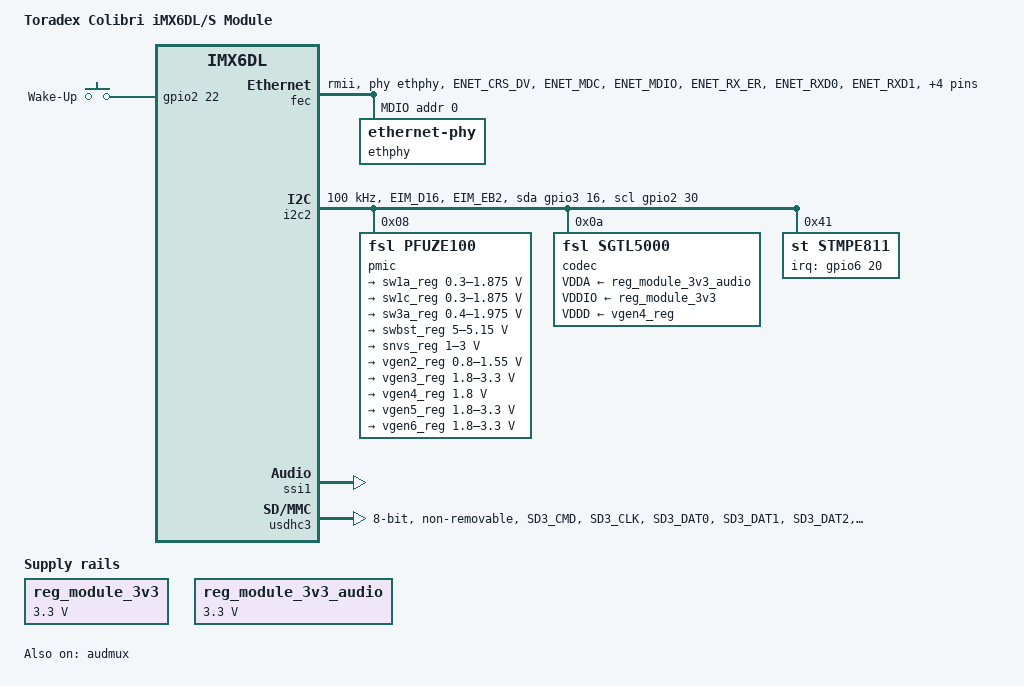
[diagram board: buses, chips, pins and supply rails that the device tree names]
// SPDX-License-Identifier: GPL-2.0+ OR MIT
/*
 * Copyright 2014-2022 Toradex
 * Copyright 2012 Freescale Semiconductor, Inc.
 * Copyright 2011 Linaro Ltd.
 */

#include <dt-bindings/gpio/gpio.h>

/ {
	model = "Toradex Colibri iMX6DL/S Module";
	compatible = "toradex,colibri_imx6dl", "fsl,imx6dl";

	backlight: backlight {
		compatible = "pwm-backlight";
		brightness-levels = <0 127 191 223 239 247 251 255>;
		default-brightness-level = <1>;
		enable-gpios = <&gpio3 26 GPIO_ACTIVE_HIGH>; /* Colibri BL_ON */
		pinctrl-names = "default";
		pinctrl-0 = <&pinctrl_gpio_bl_on>;
		power-supply = <&reg_module_3v3>;
		pwms = <&pwm3 0 5000000>;
		status = "disabled";
	};

	gpio-keys {
		compatible = "gpio-keys";
		pinctrl-names = "default";
		pinctrl-0 = <&pinctrl_gpio_keys>;

		wakeup {
			debounce-interval = <10>;
			gpios = <&gpio2 22 GPIO_ACTIVE_HIGH>; /* SODIMM 45 */
			label = "Wake-Up";
			linux,code = <KEY_WAKEUP>;
			wakeup-source;
		};
	};

	lcd_display: disp0 {
		compatible = "fsl,imx-parallel-display";
		interface-pix-fmt = "bgr666";
		pinctrl-names = "default";
		pinctrl-0 = <&pinctrl_ipu1_lcdif>;
		status = "disabled";

		#address-cells = <1>;
		#size-cells = <0>;

		port@0 {
			reg = <0>;

			lcd_display_in: endpoint {
				remote-endpoint = <&ipu1_di0_disp0>;
			};
		};

		port@1 {
			reg = <1>;

			lcd_display_out: endpoint {
				remote-endpoint = <&lcd_panel_in>;
			};
		};
	};

	/* Will be filled by the bootloader */
	memory@10000000 {
		device_type = "memory";
		reg = <0x10000000 0>;
	};

	panel_dpi: panel-dpi {
		/*
		 * edt,et057090dhu: EDT 5.7" LCD TFT
		 * edt,et070080dh6: EDT 7.0" LCD TFT
		 */
		compatible = "edt,et057090dhu";
		backlight = <&backlight>;
		status = "disabled";

		port {
			lcd_panel_in: endpoint {
				remote-endpoint = <&lcd_display_out>;
			};
		};
	};

	reg_module_3v3: regulator-module-3v3 {
		compatible = "regulator-fixed";
		regulator-name = "+V3.3";
		regulator-min-microvolt = <3300000>;
		regulator-max-microvolt = <3300000>;
		regulator-always-on;
	};

	reg_module_3v3_audio: regulator-module-3v3-audio {
		compatible = "regulator-fixed";
		regulator-name = "+V3.3_AUDIO";
		regulator-min-microvolt = <3300000>;
		regulator-max-microvolt = <3300000>;
		regulator-always-on;
	};

	reg_usb_host_vbus: regulator-usb-host-vbus {
		compatible = "regulator-fixed";
		gpio = <&gpio3 31 GPIO_ACTIVE_HIGH>; /* USBH_PEN */
		pinctrl-names = "default";
		pinctrl-0 = <&pinctrl_regulator_usbh_pwr>;
		regulator-max-microvolt = <5000000>;
		regulator-min-microvolt = <5000000>;
		regulator-name = "usb_host_vbus";
		status = "disabled";
	};

	sound {
		compatible = "fsl,imx-audio-sgtl5000";
		audio-codec = <&codec>;
		audio-routing =
			"Headphone Jack", "HP_OUT",
			"LINE_IN", "Line In Jack",
			"MIC_IN", "Mic Jack",
			"Mic Jack", "Mic Bias";
		model = "imx6dl-colibri-sgtl5000";
		mux-int-port = <1>;
		mux-ext-port = <5>;
		ssi-controller = <&ssi1>;
	};

	/* Optional S/PDIF in on SODIMM 88 and out on SODIMM 90, 137 or 168 */
	sound_spdif: sound-spdif {
		compatible = "fsl,imx-audio-spdif";
		spdif-controller = <&spdif>;
		spdif-in;
		spdif-out;
		model = "imx-spdif";
		status = "disabled";
	};
};

&audmux {
	pinctrl-names = "default";
	pinctrl-0 = <&pinctrl_audmux &pinctrl_mic_gnd>;
	status = "okay";
};

/* Optional on SODIMM 55/63 */
&can1 {
	pinctrl-names = "default";
	pinctrl-0 = <&pinctrl_flexcan1>;
	status = "disabled";
};

/* Optional on SODIMM 178/188 */
&can2 {
	pinctrl-names = "default";
	pinctrl-0 = <&pinctrl_flexcan2>;
	status = "disabled";
};

&clks {
	fsl,pmic-stby-poweroff;
};

/* Colibri SSP */
&ecspi4 {
	cs-gpios = <&gpio5 2 GPIO_ACTIVE_LOW>;
	pinctrl-names = "default";
	pinctrl-0 = <&pinctrl_ecspi4>;
	status = "disabled";
};

&fec {
	phy-mode = "rmii";
	phy-handle = <&ethphy>;
	pinctrl-names = "default";
	pinctrl-0 = <&pinctrl_enet>;
	status = "okay";

	mdio {
		#address-cells = <1>;
		#size-cells = <0>;

		ethphy: ethernet-phy@0 {
			reg = <0>;
			micrel,led-mode = <0>;
		};
	};
};

&gpio1 {
	gpio-line-names = "",
			  "SODIMM_67",
			  "SODIMM_180",
			  "SODIMM_196",
			  "SODIMM_174",
			  "SODIMM_176",
			  "SODIMM_194",
			  "SODIMM_55",
			  "SODIMM_63",
			  "SODIMM_28",
			  "SODIMM_93",
			  "SODIMM_69",
			  "SODIMM_99",
			  "SODIMM_130",
			  "SODIMM_106",
			  "SODIMM_98",
			  "SODIMM_192",
			  "SODIMM_49",
			  "SODIMM_190",
			  "SODIMM_51",
			  "SODIMM_47",
			  "SODIMM_53",
			  "",
			  "SODIMM_22";
};

&gpio2 {
	gpio-line-names = "SODIMM_132",
			  "SODIMM_134",
			  "SODIMM_135",
			  "SODIMM_133",
			  "SODIMM_102",
			  "SODIMM_43",
			  "SODIMM_127",
			  "SODIMM_37",
			  "SODIMM_104",
			  "SODIMM_59",
			  "SODIMM_30",
			  "SODIMM_100",
			  "SODIMM_38",
			  "SODIMM_34",
			  "SODIMM_32",
			  "SODIMM_36",
			  "SODIMM_59",
			  "SODIMM_67",
			  "SODIMM_97",
			  "SODIMM_79",
			  "SODIMM_103",
			  "SODIMM_101",
			  "SODIMM_45",
			  "SODIMM_105",
			  "SODIMM_107",
			  "SODIMM_91",
			  "SODIMM_89",
			  "SODIMM_150",
			  "SODIMM_126",
			  "SODIMM_128",
			  "",
			  "SODIMM_94";
};

&gpio3 {
	gpio-line-names = "SODIMM_111",
			  "SODIMM_113",
			  "SODIMM_115",
			  "SODIMM_117",
			  "SODIMM_119",
			  "SODIMM_121",
			  "SODIMM_123",
			  "SODIMM_125",
			  "SODIMM_110",
			  "SODIMM_112",
			  "SODIMM_114",
			  "SODIMM_116",
			  "SODIMM_118",
			  "SODIMM_120",
			  "SODIMM_122",
			  "SODIMM_124",
			  "",
			  "SODIMM_96",
			  "SODIMM_77",
			  "SODIMM_25",
			  "SODIMM_27",
			  "SODIMM_88",
			  "SODIMM_90",
			  "SODIMM_31",
			  "SODIMM_23",
			  "SODIMM_29",
			  "SODIMM_71",
			  "SODIMM_73",
			  "SODIMM_92",
			  "SODIMM_81",
			  "SODIMM_131",
			  "SODIMM_129";
};

&gpio4 {
	gpio-line-names = "",
			  "",
			  "",
			  "",
			  "",
			  "SODIMM_168",
			  "",
			  "",
			  "",
			  "",
			  "SODIMM_184",
			  "SODIMM_186",
			  "HDMI_15",
			  "HDMI_16",
			  "SODIMM_178",
			  "SODIMM_188",
			  "SODIMM_56",
			  "SODIMM_44",
			  "SODIMM_68",
			  "SODIMM_82",
			  "SODIMM_24",
			  "SODIMM_76",
			  "SODIMM_70",
			  "SODIMM_60",
			  "SODIMM_58",
			  "SODIMM_78",
			  "SODIMM_72",
			  "SODIMM_80",
			  "SODIMM_46",
			  "SODIMM_62",
			  "SODIMM_48",
			  "SODIMM_74";
};

&gpio5 {
	gpio-line-names = "SODIMM_95",
			  "",
			  "SODIMM_86",
			  "",
			  "SODIMM_65",
			  "SODIMM_50",
			  "SODIMM_52",
			  "SODIMM_54",
			  "SODIMM_66",
			  "SODIMM_64",
			  "SODIMM_57",
			  "SODIMM_61",
			  "SODIMM_136",
			  "SODIMM_138",
			  "SODIMM_140",
			  "SODIMM_142",
			  "SODIMM_144",
			  "SODIMM_146",
			  "SODIMM_172",
			  "SODIMM_170",
			  "SODIMM_149",
			  "SODIMM_151",
			  "SODIMM_153",
			  "SODIMM_155",
			  "SODIMM_157",
			  "SODIMM_159",
			  "SODIMM_161",
			  "SODIMM_163",
			  "SODIMM_33",
			  "SODIMM_35",
			  "SODIMM_165",
			  "SODIMM_167";
};

&gpio6 {
	gpio-line-names = "SODIMM_169",
			  "SODIMM_171",
			  "SODIMM_173",
			  "SODIMM_175",
			  "SODIMM_177",
			  "SODIMM_179",
			  "SODIMM_85",
			  "SODIMM_166",
			  "SODIMM_160",
			  "SODIMM_162",
			  "SODIMM_158",
			  "SODIMM_164",
			  "",
			  "",
			  "SODIMM_156",
			  "SODIMM_75",
			  "SODIMM_154",
			  "",
			  "",
			  "",
			  "",
			  "",
			  "",
			  "",
			  "",
			  "",
			  "",
			  "",
			  "",
			  "",
			  "",
			  "SODIMM_152";
};

&gpio7 {
	gpio-line-names = "",
			  "",
			  "",
			  "",
			  "",
			  "",
			  "",
			  "",
			  "",
			  "SODIMM_19",
			  "SODIMM_21",
			  "",
			  "SODIMM_137";
};

&hdmi {
	pinctrl-names = "default";
	pinctrl-0 = <&pinctrl_hdmi_ddc>;
	status = "disabled";
};

/*
 * PWR_I2C: power I2C to audio codec, PMIC, temperature sensor and
 * touch screen controller
 */
&i2c2 {
	clock-frequency = <100000>;
	pinctrl-names = "default", "gpio";
	pinctrl-0 = <&pinctrl_i2c2>;
	pinctrl-1 = <&pinctrl_i2c2_gpio>;
	scl-gpios = <&gpio2 30 (GPIO_ACTIVE_HIGH | GPIO_OPEN_DRAIN)>;
	sda-gpios = <&gpio3 16 (GPIO_ACTIVE_HIGH | GPIO_OPEN_DRAIN)>;
	status = "okay";

	pmic: pmic@8 {
		compatible = "fsl,pfuze100";
		fsl,pmic-stby-poweroff;
		reg = <0x08>;

		regulators {
			sw1a_reg: sw1ab {
				regulator-always-on;
				regulator-boot-on;
				regulator-max-microvolt = <1875000>;
				regulator-min-microvolt = <300000>;
				regulator-ramp-delay = <6250>;
			};

			sw1c_reg: sw1c {
				regulator-always-on;
				regulator-boot-on;
				regulator-max-microvolt = <1875000>;
				regulator-min-microvolt = <300000>;
				regulator-ramp-delay = <6250>;
			};

			sw3a_reg: sw3a {
				regulator-always-on;
				regulator-boot-on;
				regulator-max-microvolt = <1975000>;
				regulator-min-microvolt = <400000>;
			};

			swbst_reg: swbst {
				regulator-always-on;
				regulator-boot-on;
				regulator-max-microvolt = <5150000>;
				regulator-min-microvolt = <5000000>;
			};

			snvs_reg: vsnvs {
				regulator-always-on;
				regulator-boot-on;
				regulator-max-microvolt = <3000000>;
				regulator-min-microvolt = <1000000>;
			};

			vref_reg: vrefddr {
				regulator-always-on;
				regulator-boot-on;
			};

			/* vgen1: unused */

			vgen2_reg: vgen2 {
				regulator-always-on;
				regulator-boot-on;
				regulator-max-microvolt = <1550000>;
				regulator-min-microvolt = <800000>;
			};

			/*
			 * +V3.3_1.8_SD1 coming off VGEN3 and supplying
			 * the i.MX 6 NVCC_SD1.
			 */
			vgen3_reg: vgen3 {
				regulator-always-on;
				regulator-boot-on;
				regulator-max-microvolt = <3300000>;
				regulator-min-microvolt = <1800000>;
			};

			vgen4_reg: vgen4 {
				regulator-always-on;
				regulator-boot-on;
				regulator-max-microvolt = <1800000>;
				regulator-min-microvolt = <1800000>;
			};

			vgen5_reg: vgen5 {
				regulator-always-on;
				regulator-boot-on;
				regulator-max-microvolt = <3300000>;
				regulator-min-microvolt = <1800000>;
			};

			vgen6_reg: vgen6 {
				regulator-always-on;
				regulator-boot-on;
				regulator-max-microvolt = <3300000>;
				regulator-min-microvolt = <1800000>;
			};
		};
	};

	codec: sgtl5000@a {
		compatible = "fsl,sgtl5000";
		clocks = <&clks IMX6QDL_CLK_CKO>;
		lrclk-strength = <3>;
		reg = <0x0a>;
		#sound-dai-cells = <0>;
		VDDA-supply = <&reg_module_3v3_audio>;
		VDDIO-supply = <&reg_module_3v3>;
		VDDD-supply = <&vgen4_reg>;
	};

	/* STMPE811 touch screen controller */
	stmpe811@41 {
		compatible = "st,stmpe811";
		blocks = <0x5>;
		interrupts = <20 IRQ_TYPE_LEVEL_LOW>;
		interrupt-parent = <&gpio6>;
		interrupt-controller;
		id = <0>;
		irq-trigger = <0x1>;
		pinctrl-names = "default";
		pinctrl-0 = <&pinctrl_touch_int>;
		reg = <0x41>;
		/* 3.25 MHz ADC clock speed */
		st,adc-freq = <1>;
		/* 12-bit ADC */
		st,mod-12b = <1>;
		/* internal ADC reference */
		st,ref-sel = <0>;
		/* ADC converstion time: 80 clocks */
		st,sample-time = <4>;

		stmpe_ts: stmpe_touchscreen {
			compatible = "st,stmpe-ts";
			/* 8 sample average control */
			st,ave-ctrl = <3>;
			/* 7 length fractional part in z */
			st,fraction-z = <7>;
			/*
			 * 50 mA typical 80 mA max touchscreen drivers
			 * current limit value
			 */
			st,i-drive = <1>;
			/* 1 ms panel driver settling time */
			st,settling = <3>;
			/* 5 ms touch detect interrupt delay */
			st,touch-det-delay = <5>;
			status = "disabled";
		};

		stmpe_adc: stmpe_adc {
			compatible = "st,stmpe-adc";
			/* forbid to use ADC channels 3-0 (touch) */
			st,norequest-mask = <0x0F>;
		};
	};
};

/*
 * I2C3_SDA/SCL on SODIMM 194/196 (e.g. RTC on carrier board)
 */
&i2c3 {
	clock-frequency = <100000>;
	pinctrl-names = "default", "gpio";
	pinctrl-0 = <&pinctrl_i2c3>;
	pinctrl-1 = <&pinctrl_i2c3_gpio>;
	scl-gpios = <&gpio1 3 (GPIO_ACTIVE_HIGH | GPIO_OPEN_DRAIN)>;
	sda-gpios = <&gpio1 6 (GPIO_ACTIVE_HIGH | GPIO_OPEN_DRAIN)>;
	status = "disabled";

	atmel_mxt_ts: touchscreen@4a {
		compatible = "atmel,maxtouch";
		interrupt-parent = <&gpio2>;
		interrupts = <24 IRQ_TYPE_EDGE_FALLING>;	/* SODIMM 107 */
		pinctrl-names = "default";
		pinctrl-0 = <&pinctrl_atmel_conn>;
		reg = <0x4a>;
		reset-gpios = <&gpio1 14 GPIO_ACTIVE_LOW>;	/* SODIMM 106 */
		status = "disabled";
	};
};

&ipu1_di0_disp0 {
	remote-endpoint = <&lcd_display_in>;
};

/* Colibri PWM<B> */
&pwm1 {
	pinctrl-names = "default";
	pinctrl-0 = <&pinctrl_pwm1>;
	status = "disabled";
};

/* Colibri PWM<D> */
&pwm2 {
	pinctrl-names = "default";
	pinctrl-0 = <&pinctrl_pwm2>;
	status = "disabled";
};

/* Colibri PWM<A> */
&pwm3 {
	#pwm-cells = <2>;
	pinctrl-names = "default";
	pinctrl-0 = <&pinctrl_pwm3>;
	status = "disabled";
};

/* Colibri PWM<C> */
&pwm4 {
	pinctrl-names = "default";
	pinctrl-0 = <&pinctrl_pwm4>;
	status = "disabled";
};

/* Optional S/PDIF out on SODIMM 137 */
&spdif {
	pinctrl-names = "default";
	pinctrl-0 = <&pinctrl_spdif>;
	status = "disabled";
};

&ssi1 {
	status = "okay";
};

/* Colibri UART_A */
&uart1 {
	fsl,dte-mode;
	pinctrl-names = "default";
	pinctrl-0 = <&pinctrl_uart1_dte &pinctrl_uart1_ctrl>;
	uart-has-rtscts;
	status = "disabled";
};

/* Colibri UART_B */
&uart2 {
	fsl,dte-mode;
	pinctrl-names = "default";
	pinctrl-0 = <&pinctrl_uart2_dte>;
	uart-has-rtscts;
	status = "disabled";
};

/* Colibri UART_C */
&uart3 {
	fsl,dte-mode;
	pinctrl-names = "default";
	pinctrl-0 = <&pinctrl_uart3_dte>;
	status = "disabled";
};

&usbotg {
	disable-over-current;
	dr_mode = "peripheral";
	status = "disabled";
};

/* Colibri MMC */
&usdhc1 {
	cd-gpios = <&gpio2 5 GPIO_ACTIVE_LOW>; /* MMCD */
	bus-width = <4>;
	no-1-8-v;
	disable-wp;
	pinctrl-names = "default", "state_100mhz", "state_200mhz", "sleep";
	pinctrl-0 = <&pinctrl_usdhc1 &pinctrl_mmc_cd>;
	pinctrl-1 = <&pinctrl_usdhc1_100mhz &pinctrl_mmc_cd>;
	pinctrl-2 = <&pinctrl_usdhc1_200mhz &pinctrl_mmc_cd>;
	pinctrl-3 = <&pinctrl_usdhc1_sleep &pinctrl_mmc_cd_sleep>;
	vmmc-supply = <&reg_module_3v3>;
	vqmmc-supply = <&vgen3_reg>;
	status = "disabled";
};

/* eMMC */
&usdhc3 {
	bus-width = <8>;
	no-1-8-v;
	non-removable;
	pinctrl-names = "default";
	pinctrl-0 = <&pinctrl_usdhc3>;
	vqmmc-supply = <&reg_module_3v3>;
	status = "okay";
};

&weim {
	pinctrl-names = "default";
	pinctrl-0 = <&pinctrl_weim_sram  &pinctrl_weim_cs0
		     &pinctrl_weim_cs1   &pinctrl_weim_cs2
		     &pinctrl_weim_rdnwr &pinctrl_weim_npwe>;
	#address-cells = <2>;
	#size-cells = <1>;
	status = "disabled";
};

&iomuxc {
	pinctrl-names = "default";
	pinctrl-0 = <&pinctrl_usbh_oc_1>;

	/* Atmel MXT touchsceen + Capacitive Touch Adapter */
	/* NOTE: This pin group conflicts with pin groups
	 * pinctrl_pwm1/pinctrl_pwm4. Don't use them simultaneously.
	 */
	pinctrl_atmel_adap: atmeladaptergrp {
		fsl,pins = <
			MX6QDL_PAD_GPIO_9__GPIO1_IO09   0xb0b1  /* SODIMM  28 */
			MX6QDL_PAD_SD4_DAT2__GPIO2_IO10 0xb0b1  /* SODIMM  30 */
		>;
	};

	/* Atmel MXT touchsceen + boards with built-in Capacitive Touch Connector */
	/* NOTE: This pin group conflicts with pin groups pinctrl_weim_cs1 and
	 * pinctrl_weim_cs2. Don't use them simultaneously.
	 */
	pinctrl_atmel_conn: atmelconnectorgrp {
		fsl,pins = <
			MX6QDL_PAD_EIM_CS1__GPIO2_IO24  0xb0b1  /* SODIMM_107 */
			MX6QDL_PAD_SD2_DAT1__GPIO1_IO14 0xb0b1  /* SODIMM_106 */
		>;
	};

	pinctrl_audmux: audmuxgrp {
		fsl,pins = <
			/* SGTL5000 sys_mclk */
			MX6QDL_PAD_GPIO_0__CCM_CLKO1	0x000b0
			MX6QDL_PAD_KEY_COL0__AUD5_TXC	0x130b0
			MX6QDL_PAD_KEY_ROW0__AUD5_TXD	0x130b0
			MX6QDL_PAD_KEY_COL1__AUD5_TXFS	0x130b0
			MX6QDL_PAD_KEY_ROW1__AUD5_RXD	0x130b0
		>;
	};

	pinctrl_cam_mclk: cammclkgrp {
		fsl,pins = <
			/* Parallel Camera CAM sys_mclk */
			MX6QDL_PAD_NANDF_CS2__CCM_CLKO2	0x00b0
		>;
	};

	/* CSI pins used as GPIOs */
	pinctrl_csi_gpio_1: csigpio1grp {
		fsl,pins = <
			MX6QDL_PAD_EIM_D18__GPIO3_IO18   0x1b0b0
			MX6QDL_PAD_EIM_A19__GPIO2_IO19   0x1b0b0
			MX6QDL_PAD_EIM_D29__GPIO3_IO29   0x130b0
			MX6QDL_PAD_EIM_A23__GPIO6_IO06   0x1b0b0
			MX6QDL_PAD_EIM_A20__GPIO2_IO18   0x1b0b0
			MX6QDL_PAD_EIM_A17__GPIO2_IO21   0x1b0b0
			MX6QDL_PAD_EIM_A18__GPIO2_IO20   0x1b0b0
			MX6QDL_PAD_EIM_EB3__GPIO2_IO31   0x1b0b0
			MX6QDL_PAD_EIM_D17__GPIO3_IO17   0x1b0b0
			MX6QDL_PAD_NANDF_CS2__GPIO6_IO15 0x1b0b0
			MX6QDL_PAD_SD2_CMD__GPIO1_IO11   0x1b0b0
			MX6QDL_PAD_SD2_DAT0__GPIO1_IO15  0x1b0b0
		>;
	};

	pinctrl_csi_gpio_2: csigpio2grp {
		fsl,pins = <
			MX6QDL_PAD_EIM_A24__GPIO5_IO04   0x1b0b0
		>;
	};

	pinctrl_ecspi4: ecspi4grp {
		fsl,pins = <
			/* SPI CS */
			MX6QDL_PAD_EIM_A25__GPIO5_IO02	0x000b1
			MX6QDL_PAD_EIM_D22__ECSPI4_MISO	0x100b1
			MX6QDL_PAD_EIM_D28__ECSPI4_MOSI	0x100b1
			MX6QDL_PAD_EIM_D21__ECSPI4_SCLK 0x100b1
		>;
	};

	pinctrl_enet: enetgrp {
		fsl,pins = <
			MX6QDL_PAD_ENET_CRS_DV__ENET_RX_EN	0x1b0b0
			MX6QDL_PAD_ENET_MDC__ENET_MDC		0x1b0b0
			MX6QDL_PAD_ENET_MDIO__ENET_MDIO		0x1b0b0
			MX6QDL_PAD_ENET_RX_ER__ENET_RX_ER	0x1b0b0
			MX6QDL_PAD_ENET_RXD0__ENET_RX_DATA0	0x1b0b0
			MX6QDL_PAD_ENET_RXD1__ENET_RX_DATA1	0x1b0b0
			MX6QDL_PAD_ENET_TX_EN__ENET_TX_EN	0x1b0b0
			MX6QDL_PAD_ENET_TXD0__ENET_TX_DATA0	0x1b0b0
			MX6QDL_PAD_ENET_TXD1__ENET_TX_DATA1	0x1b0b0
			MX6QDL_PAD_GPIO_16__ENET_REF_CLK	((1<<30) | 0x1b0b0)
		>;
	};

	pinctrl_flexcan1: flexcan1grp {
		fsl,pins = <
			MX6QDL_PAD_GPIO_7__FLEXCAN1_TX		0x1b0b0
			MX6QDL_PAD_GPIO_8__FLEXCAN1_RX		0x1b0b0
		>;
	};

	pinctrl_flexcan2: flexcan2grp {
		fsl,pins = <
			MX6QDL_PAD_KEY_COL4__FLEXCAN2_TX	0x1b0b0
			MX6QDL_PAD_KEY_ROW4__FLEXCAN2_RX	0x1b0b0
		>;
	};

	pinctrl_gpio_1: gpio1grp {
		fsl,pins = <
			MX6QDL_PAD_DI0_PIN4__GPIO4_IO20     0x1b0b0
			MX6QDL_PAD_EIM_D27__GPIO3_IO27      0x1b0b0
			MX6QDL_PAD_ENET_REF_CLK__GPIO1_IO23 0x1b0b0
			MX6QDL_PAD_NANDF_D3__GPIO2_IO03     0x1b0b0
			MX6QDL_PAD_NANDF_D4__GPIO2_IO04     0x1b0b0
			MX6QDL_PAD_NANDF_D6__GPIO2_IO06     0x1b0b0
			MX6QDL_PAD_SD4_DAT0__GPIO2_IO08     0x1b0b0
			MX6QDL_PAD_SD4_DAT3__GPIO2_IO11     0x1b0b0
		>;
	};
	pinctrl_gpio_2: gpio2grp {
		fsl,pins = <
			MX6QDL_PAD_GPIO_7__GPIO1_IO07       0x1b0b0
			MX6QDL_PAD_GPIO_8__GPIO1_IO08       0x1b0b0
		>;
	};

	pinctrl_gpio_bl_on: gpioblongrp {
		fsl,pins = <
			MX6QDL_PAD_EIM_D26__GPIO3_IO26		0x1b0b0
		>;
	};

	pinctrl_gpio_keys: gpiokeysgrp {
		fsl,pins = <
			MX6QDL_PAD_EIM_A16__GPIO2_IO22		0x130b0
		>;
	};

	pinctrl_hdmi_ddc: hdmiddcgrp {
		fsl,pins = <
			MX6QDL_PAD_KEY_COL3__HDMI_TX_DDC_SCL 0x4001b8b1
			MX6QDL_PAD_KEY_ROW3__HDMI_TX_DDC_SDA 0x4001b8b1
		>;
	};

	pinctrl_i2c2: i2c2grp {
		fsl,pins = <
			MX6QDL_PAD_EIM_D16__I2C2_SDA 0x4001b8b1
			MX6QDL_PAD_EIM_EB2__I2C2_SCL 0x4001b8b1
		>;
	};

	pinctrl_i2c2_gpio: i2c2gpiogrp {
		fsl,pins = <
			MX6QDL_PAD_EIM_D16__GPIO3_IO16 0x4001b8b1
			MX6QDL_PAD_EIM_EB2__GPIO2_IO30 0x4001b8b1
		>;
	};

	pinctrl_i2c3: i2c3grp {
		fsl,pins = <
			MX6QDL_PAD_GPIO_3__I2C3_SCL 0x4001b8b1
			MX6QDL_PAD_GPIO_6__I2C3_SDA 0x4001b8b1
		>;
	};

	pinctrl_i2c3_gpio: i2c3gpiogrp {
		fsl,pins = <
			MX6QDL_PAD_GPIO_3__GPIO1_IO03 0x4001b8b1
			MX6QDL_PAD_GPIO_6__GPIO1_IO06 0x4001b8b1
		>;
	};

	pinctrl_ipu1_csi0: ipu1csi0grp { /* Parallel Camera */
		fsl,pins = <
			MX6QDL_PAD_EIM_A17__IPU1_CSI1_DATA12	0xb0b1
			MX6QDL_PAD_EIM_A18__IPU1_CSI1_DATA13	0xb0b1
			MX6QDL_PAD_EIM_A19__IPU1_CSI1_DATA14	0xb0b1
			MX6QDL_PAD_EIM_A20__IPU1_CSI1_DATA15	0xb0b1
			MX6QDL_PAD_EIM_A21__IPU1_CSI1_DATA16	0xb0b1
			MX6QDL_PAD_EIM_A22__IPU1_CSI1_DATA17	0xb0b1
			MX6QDL_PAD_EIM_A23__IPU1_CSI1_DATA18	0xb0b1
			MX6QDL_PAD_EIM_A24__IPU1_CSI1_DATA19	0xb0b1
			MX6QDL_PAD_EIM_D17__IPU1_CSI1_PIXCLK	0xb0b1
			MX6QDL_PAD_EIM_EB3__IPU1_CSI1_HSYNC	0xb0b1
			MX6QDL_PAD_EIM_D29__IPU1_CSI1_VSYNC	0xb0b1
			/* Disable PWM pins on camera interface */
			MX6QDL_PAD_GPIO_1__GPIO1_IO01		0x40
			MX6QDL_PAD_SD4_DAT1__GPIO2_IO09		0x40
		>;
	};

	pinctrl_ipu1_lcdif: ipu1lcdifgrp {
		fsl,pins = <
			MX6QDL_PAD_DI0_DISP_CLK__IPU1_DI0_DISP_CLK	0xa1
			MX6QDL_PAD_DI0_PIN15__IPU1_DI0_PIN15		0xa1
			MX6QDL_PAD_DI0_PIN2__IPU1_DI0_PIN02		0xa1
			MX6QDL_PAD_DI0_PIN3__IPU1_DI0_PIN03		0xa1
			MX6QDL_PAD_DISP0_DAT0__IPU1_DISP0_DATA00	0xa1
			MX6QDL_PAD_DISP0_DAT1__IPU1_DISP0_DATA01	0xa1
			MX6QDL_PAD_DISP0_DAT2__IPU1_DISP0_DATA02	0xa1
			MX6QDL_PAD_DISP0_DAT3__IPU1_DISP0_DATA03	0xa1
			MX6QDL_PAD_DISP0_DAT4__IPU1_DISP0_DATA04	0xa1
			MX6QDL_PAD_DISP0_DAT5__IPU1_DISP0_DATA05	0xa1
			MX6QDL_PAD_DISP0_DAT6__IPU1_DISP0_DATA06	0xa1
			MX6QDL_PAD_DISP0_DAT7__IPU1_DISP0_DATA07	0xa1
			MX6QDL_PAD_DISP0_DAT8__IPU1_DISP0_DATA08	0xa1
			MX6QDL_PAD_DISP0_DAT9__IPU1_DISP0_DATA09	0xa1
			MX6QDL_PAD_DISP0_DAT10__IPU1_DISP0_DATA10	0xa1
			MX6QDL_PAD_DISP0_DAT11__IPU1_DISP0_DATA11	0xa1
			MX6QDL_PAD_DISP0_DAT12__IPU1_DISP0_DATA12	0xa1
			MX6QDL_PAD_DISP0_DAT13__IPU1_DISP0_DATA13	0xa1
			MX6QDL_PAD_DISP0_DAT14__IPU1_DISP0_DATA14	0xa1
			MX6QDL_PAD_DISP0_DAT15__IPU1_DISP0_DATA15	0xa1
			MX6QDL_PAD_DISP0_DAT16__IPU1_DISP0_DATA16	0xa1
			MX6QDL_PAD_DISP0_DAT17__IPU1_DISP0_DATA17	0xa1
		>;
	};

	pinctrl_lvds_transceiver: lvdstxgrp {
		fsl,pins = <
			MX6QDL_PAD_EIM_WAIT__GPIO5_IO00 0x03030 /* SODIMM  95 */
			MX6QDL_PAD_GPIO_7__GPIO1_IO07   0x0b030 /* SODIMM  55 */
			MX6QDL_PAD_GPIO_8__GPIO1_IO08   0x03030 /* SODIMM  63 */
			MX6QDL_PAD_SD2_DAT3__GPIO1_IO12 0x03030 /* SODIMM  99 */
		>;
	};

	pinctrl_mic_gnd: micgndgrp {
		fsl,pins = <
			/* Controls Mic GND, PU or '1' pull Mic GND to GND */
			MX6QDL_PAD_RGMII_TD1__GPIO6_IO21 0x1b0b0
		>;
	};

	pinctrl_mmc_cd: mmccdgrp {
		fsl,pins = <
			MX6QDL_PAD_NANDF_D5__GPIO2_IO05	0x1b0b1
		>;
	};

	pinctrl_mmc_cd_sleep: mmccdslpgrp {
		fsl,pins = <
			MX6QDL_PAD_NANDF_D5__GPIO2_IO05	0x0
		>;
	};

	pinctrl_pwm1: pwm1grp {
		fsl,pins = <
			MX6QDL_PAD_GPIO_9__PWM1_OUT	0x1b0b1
		>;
	};

	pinctrl_pwm2: pwm2grp {
		fsl,pins = <
			MX6QDL_PAD_EIM_A21__GPIO2_IO17	0x00040
			MX6QDL_PAD_GPIO_1__PWM2_OUT	0x1b0b1
		>;
	};

	pinctrl_pwm3: pwm3grp {
		fsl,pins = <
			MX6QDL_PAD_EIM_A22__GPIO2_IO16	0x00040
			MX6QDL_PAD_SD4_DAT1__PWM3_OUT	0x1b0b1
		>;
	};

	pinctrl_pwm4: pwm4grp {
		fsl,pins = <
			MX6QDL_PAD_SD4_DAT2__PWM4_OUT	0x1b0b1
		>;
	};

	pinctrl_regulator_usbh_pwr: gpioregusbhpwrgrp {
		fsl,pins = <
			/* USBH_EN */
			MX6QDL_PAD_EIM_D31__GPIO3_IO31	0x0f058
		>;
	};

	pinctrl_spdif: spdifgrp {
		fsl,pins = <
			MX6QDL_PAD_GPIO_17__SPDIF_OUT 0x1b0b0
		>;
	};

	pinctrl_touch_int: gpiotouchintgrp {
		fsl,pins = <
			/* STMPE811 interrupt */
			MX6QDL_PAD_RGMII_TD0__GPIO6_IO20 0x1b0b0
		>;
	};

	pinctrl_uart1_dce: uart1dcegrp {
		fsl,pins = <
			MX6QDL_PAD_CSI0_DAT10__UART1_TX_DATA 0x1b0b1
			MX6QDL_PAD_CSI0_DAT11__UART1_RX_DATA 0x1b0b1
		>;
	};

	/* DTE mode */
	pinctrl_uart1_dte: uart1dtegrp {
		fsl,pins = <
			MX6QDL_PAD_CSI0_DAT10__UART1_RX_DATA 0x1b0b1
			MX6QDL_PAD_CSI0_DAT11__UART1_TX_DATA 0x1b0b1
			MX6QDL_PAD_EIM_D19__UART1_RTS_B	0x1b0b1
			MX6QDL_PAD_EIM_D20__UART1_CTS_B 0x1b0b1
		>;
	};

	/* Additional DTR, DSR, DCD */
	pinctrl_uart1_ctrl: uart1ctrlgrp {
		fsl,pins = <
			MX6QDL_PAD_EIM_D23__UART1_DCD_B 0x1b0b0
			MX6QDL_PAD_EIM_D24__UART1_DTR_B 0x1b0b0
			MX6QDL_PAD_EIM_D25__UART1_DSR_B 0x1b0b0
		>;
	};

	pinctrl_uart2_dte: uart2dtegrp {
		fsl,pins = <
			MX6QDL_PAD_SD4_DAT4__UART2_TX_DATA	0x1b0b1
			MX6QDL_PAD_SD4_DAT5__UART2_CTS_B	0x1b0b1
			MX6QDL_PAD_SD4_DAT6__UART2_RTS_B	0x1b0b1
			MX6QDL_PAD_SD4_DAT7__UART2_RX_DATA	0x1b0b1
		>;
	};

	pinctrl_uart3_dte: uart3dtegrp {
		fsl,pins = <
			MX6QDL_PAD_SD4_CLK__UART3_TX_DATA	0x1b0b1
			MX6QDL_PAD_SD4_CMD__UART3_RX_DATA	0x1b0b1
		>;
	};

	pinctrl_usbc_det: usbcdetgrp {
		fsl,pins = <
			/* USBC_DET */
			MX6QDL_PAD_GPIO_17__GPIO7_IO12		0x1b0b0
			/* USBC_DET_OVERWRITE */
			MX6QDL_PAD_RGMII_RXC__GPIO6_IO30	0x0f058
			/* USBC_DET_EN */
			MX6QDL_PAD_RGMII_TX_CTL__GPIO6_IO26	0x0f058
		>;
	};

	pinctrl_usbc_id_1: usbcid1grp {
		fsl,pins = <
			/* USBC_ID */
			MX6QDL_PAD_NANDF_D2__GPIO2_IO02		0x1b0b0
		>;
	};

	pinctrl_usbh_oc_1: usbhoc1grp {
		fsl,pins = <
			/* USBH_OC */
			MX6QDL_PAD_EIM_D30__GPIO3_IO30		0x1b0b0
		>;
	};

	pinctrl_usdhc1: usdhc1grp {
		fsl,pins = <
			MX6QDL_PAD_SD1_CMD__SD1_CMD	0x17071
			MX6QDL_PAD_SD1_CLK__SD1_CLK	0x10071
			MX6QDL_PAD_SD1_DAT0__SD1_DATA0	0x17071
			MX6QDL_PAD_SD1_DAT1__SD1_DATA1	0x17071
			MX6QDL_PAD_SD1_DAT2__SD1_DATA2	0x17071
			MX6QDL_PAD_SD1_DAT3__SD1_DATA3	0x17071
		>;
	};

	pinctrl_usdhc1_100mhz: usdhc1-100mhzgrp {
		fsl,pins = <
			MX6QDL_PAD_SD1_CMD__SD1_CMD    0x170b1
			MX6QDL_PAD_SD1_CLK__SD1_CLK    0x100b1
			MX6QDL_PAD_SD1_DAT0__SD1_DATA0 0x170b1
			MX6QDL_PAD_SD1_DAT1__SD1_DATA1 0x170b1
			MX6QDL_PAD_SD1_DAT2__SD1_DATA2 0x170b1
			MX6QDL_PAD_SD1_DAT3__SD1_DATA3 0x170b1
		>;
	};

	pinctrl_usdhc1_200mhz: usdhc1-200mhzgrp {
		fsl,pins = <
			MX6QDL_PAD_SD1_CMD__SD1_CMD    0x170f1
			MX6QDL_PAD_SD1_CLK__SD1_CLK    0x100f1
			MX6QDL_PAD_SD1_DAT0__SD1_DATA0 0x170f1
			MX6QDL_PAD_SD1_DAT1__SD1_DATA1 0x170f1
			MX6QDL_PAD_SD1_DAT2__SD1_DATA2 0x170f1
			MX6QDL_PAD_SD1_DAT3__SD1_DATA3 0x170f1
		>;
	};

	/* avoid backfeeding with removed card power */
	pinctrl_usdhc1_sleep: usdhc1sleepgrp {
		fsl,pins = <
			MX6QDL_PAD_SD1_CMD__SD1_CMD	0x3000
			MX6QDL_PAD_SD1_CLK__SD1_CLK	0x3000
			MX6QDL_PAD_SD1_DAT0__SD1_DATA0	0x3000
			MX6QDL_PAD_SD1_DAT1__SD1_DATA1	0x3000
			MX6QDL_PAD_SD1_DAT2__SD1_DATA2	0x3000
			MX6QDL_PAD_SD1_DAT3__SD1_DATA3	0x3000
		>;
	};

	pinctrl_usdhc3: usdhc3grp {
		fsl,pins = <
			MX6QDL_PAD_SD3_CMD__SD3_CMD	0x17059
			MX6QDL_PAD_SD3_CLK__SD3_CLK	0x10059
			MX6QDL_PAD_SD3_DAT0__SD3_DATA0	0x17059
			MX6QDL_PAD_SD3_DAT1__SD3_DATA1	0x17059
			MX6QDL_PAD_SD3_DAT2__SD3_DATA2	0x17059
			MX6QDL_PAD_SD3_DAT3__SD3_DATA3	0x17059
			MX6QDL_PAD_SD3_DAT4__SD3_DATA4	0x17059
			MX6QDL_PAD_SD3_DAT5__SD3_DATA5	0x17059
			MX6QDL_PAD_SD3_DAT6__SD3_DATA6	0x17059
			MX6QDL_PAD_SD3_DAT7__SD3_DATA7	0x17059
			/* eMMC reset */
			MX6QDL_PAD_SD3_RST__SD3_RESET	0x17059
		>;
	};

	pinctrl_weim_cs0: weimcs0grp {
		fsl,pins = <
			/* nEXT_CS0 */
			MX6QDL_PAD_EIM_CS0__EIM_CS0_B	0xb0b1
		>;
	};

	pinctrl_weim_cs1: weimcs1grp {
		fsl,pins = <
			/* nEXT_CS1 */
			MX6QDL_PAD_EIM_CS1__EIM_CS1_B	0xb0b1
		>;
	};

	pinctrl_weim_cs2: weimcs2grp {
		fsl,pins = <
			/* nEXT_CS2 */
			MX6QDL_PAD_SD2_DAT1__EIM_CS2_B	0xb0b1
		>;
	};

	/* ADDRESS[16:18] [25] used as GPIO */
	pinctrl_weim_gpio_1: weimgpio1grp {
		fsl,pins = <
			MX6QDL_PAD_DISP0_DAT23__GPIO5_IO17	0x1b0b0
			MX6QDL_PAD_DISP0_DAT22__GPIO5_IO16	0x1b0b0
			MX6QDL_PAD_DISP0_DAT21__GPIO5_IO15	0x1b0b0
			MX6QDL_PAD_DISP0_DAT20__GPIO5_IO14	0x1b0b0
			MX6QDL_PAD_DISP0_DAT19__GPIO5_IO13	0x1b0b0
			MX6QDL_PAD_DISP0_DAT18__GPIO5_IO12	0x1b0b0
			MX6QDL_PAD_KEY_COL2__GPIO4_IO10		0x1b0b0
			MX6QDL_PAD_KEY_ROW4__GPIO4_IO15		0x1b0b0
			MX6QDL_PAD_KEY_ROW2__GPIO4_IO11		0x1b0b0
			MX6QDL_PAD_NANDF_D1__GPIO2_IO01		0x1b0b0
		>;
	};

	/* ADDRESS[19:24] used as GPIO */
	pinctrl_weim_gpio_2: weimgpio2grp {
		fsl,pins = <
			MX6QDL_PAD_DISP0_DAT18__GPIO5_IO12	0x1b0b0
			MX6QDL_PAD_DISP0_DAT19__GPIO5_IO13	0x1b0b0
			MX6QDL_PAD_DISP0_DAT20__GPIO5_IO14	0x1b0b0
			MX6QDL_PAD_DISP0_DAT21__GPIO5_IO15	0x1b0b0
			MX6QDL_PAD_DISP0_DAT22__GPIO5_IO16	0x1b0b0
			MX6QDL_PAD_DISP0_DAT23__GPIO5_IO17	0x1b0b0
			MX6QDL_PAD_KEY_COL2__GPIO4_IO10		0x1b0b0
			MX6QDL_PAD_KEY_ROW2__GPIO4_IO11		0x1b0b0
			MX6QDL_PAD_NANDF_D1__GPIO2_IO01		0x1b0b0
		>;
	};

	/* DATA[16:31] used as GPIO */
	pinctrl_weim_gpio_3: weimgpio3grp {
		fsl,pins = <
			MX6QDL_PAD_CSI0_MCLK__GPIO5_IO19	0x1b0b0
			MX6QDL_PAD_CSI0_PIXCLK__GPIO5_IO18	0x1b0b0
			MX6QDL_PAD_EIM_LBA__GPIO2_IO27		0x1b0b0
			MX6QDL_PAD_EIM_BCLK__GPIO6_IO31		0x1b0b0
			MX6QDL_PAD_GPIO_2__GPIO1_IO02		0x1b0b0
			MX6QDL_PAD_GPIO_4__GPIO1_IO04		0x1b0b0
			MX6QDL_PAD_GPIO_5__GPIO1_IO05		0x1b0b0
			MX6QDL_PAD_GPIO_19__GPIO4_IO05		0x1b0b0
			MX6QDL_PAD_NANDF_ALE__GPIO6_IO08	0x1b0b0
			MX6QDL_PAD_NANDF_CS0__GPIO6_IO11	0x1b0b0
			MX6QDL_PAD_NANDF_CS1__GPIO6_IO14	0x1b0b0
			MX6QDL_PAD_NANDF_CS3__GPIO6_IO16	0x1b0b0
			MX6QDL_PAD_NANDF_CLE__GPIO6_IO07	0x1b0b0
			MX6QDL_PAD_NANDF_RB0__GPIO6_IO10	0x1b0b0
			MX6QDL_PAD_NANDF_WP_B__GPIO6_IO09	0x1b0b0
		>;
	};

	/* DQM[0:3] used as GPIO */
	pinctrl_weim_gpio_4: weimgpio4grp {
		fsl,pins = <
			MX6QDL_PAD_EIM_EB0__GPIO2_IO28		0x1b0b0
			MX6QDL_PAD_EIM_EB1__GPIO2_IO29		0x1b0b0
			MX6QDL_PAD_NANDF_D0__GPIO2_IO00		0x1b0b0
			MX6QDL_PAD_SD2_DAT2__GPIO1_IO13		0x1b0b0
		>;
	};

	/* RDY used as GPIO */
	pinctrl_weim_gpio_5: weimgpio5grp {
		fsl,pins = <
			MX6QDL_PAD_EIM_WAIT__GPIO5_IO00		0x1b0b0
		>;
	};

	/* ADDRESS[16] DATA[30] used as GPIO */
	pinctrl_weim_gpio_6: weimgpio6grp {
		fsl,pins = <
			MX6QDL_PAD_KEY_COL4__GPIO4_IO14		0x1b0b0
			MX6QDL_PAD_KEY_ROW4__GPIO4_IO15		0x1b0b0
		>;
	};

	pinctrl_weim_npwe: weimnpwegrp {
		fsl,pins = <
			MX6QDL_PAD_RGMII_TD2__GPIO6_IO22	0x130b0
			MX6QDL_PAD_SD2_DAT3__GPIO1_IO12		0x0040
		>;
	};

	pinctrl_weim_sram: weimsramgrp {
		fsl,pins = <
			/* Data */
			MX6QDL_PAD_CSI0_DAT4__EIM_DATA02	0x1b0b0
			MX6QDL_PAD_CSI0_DAT5__EIM_DATA03	0x1b0b0
			MX6QDL_PAD_CSI0_DAT6__EIM_DATA04	0x1b0b0
			MX6QDL_PAD_CSI0_DAT7__EIM_DATA05	0x1b0b0
			MX6QDL_PAD_CSI0_DAT8__EIM_DATA06	0x1b0b0
			MX6QDL_PAD_CSI0_DAT9__EIM_DATA07	0x1b0b0
			MX6QDL_PAD_CSI0_DAT12__EIM_DATA08	0x1b0b0
			MX6QDL_PAD_CSI0_DAT13__EIM_DATA09	0x1b0b0
			MX6QDL_PAD_CSI0_DAT14__EIM_DATA10	0x1b0b0
			MX6QDL_PAD_CSI0_DAT15__EIM_DATA11	0x1b0b0
			MX6QDL_PAD_CSI0_DAT16__EIM_DATA12	0x1b0b0
			MX6QDL_PAD_CSI0_DAT17__EIM_DATA13	0x1b0b0
			MX6QDL_PAD_CSI0_DAT18__EIM_DATA14	0x1b0b0
			MX6QDL_PAD_CSI0_DAT19__EIM_DATA15	0x1b0b0
			MX6QDL_PAD_CSI0_DATA_EN__EIM_DATA00	0x1b0b0
			MX6QDL_PAD_CSI0_VSYNC__EIM_DATA01	0x1b0b0
			/* Address */
			MX6QDL_PAD_EIM_DA0__EIM_AD00		0xb0b1
			MX6QDL_PAD_EIM_DA1__EIM_AD01		0xb0b1
			MX6QDL_PAD_EIM_DA2__EIM_AD02		0xb0b1
			MX6QDL_PAD_EIM_DA3__EIM_AD03		0xb0b1
			MX6QDL_PAD_EIM_DA4__EIM_AD04		0xb0b1
			MX6QDL_PAD_EIM_DA5__EIM_AD05		0xb0b1
			MX6QDL_PAD_EIM_DA6__EIM_AD06		0xb0b1
			MX6QDL_PAD_EIM_DA7__EIM_AD07		0xb0b1
			MX6QDL_PAD_EIM_DA8__EIM_AD08		0xb0b1
			MX6QDL_PAD_EIM_DA9__EIM_AD09		0xb0b1
			MX6QDL_PAD_EIM_DA10__EIM_AD10		0xb0b1
			MX6QDL_PAD_EIM_DA11__EIM_AD11		0xb0b1
			MX6QDL_PAD_EIM_DA12__EIM_AD12		0xb0b1
			MX6QDL_PAD_EIM_DA13__EIM_AD13		0xb0b1
			MX6QDL_PAD_EIM_DA14__EIM_AD14		0xb0b1
			MX6QDL_PAD_EIM_DA15__EIM_AD15		0xb0b1
			/* Ctrl */
			MX6QDL_PAD_EIM_OE__EIM_OE_B		0xb0b1
			MX6QDL_PAD_EIM_RW__EIM_RW		0xb0b1
		>;
	};

	pinctrl_weim_rdnwr: weimrdnwrgrp {
		fsl,pins = <
			MX6QDL_PAD_RGMII_TD3__GPIO6_IO23	0x130b0
			MX6QDL_PAD_SD2_CLK__GPIO1_IO10		0x0040
		>;
	};
};
